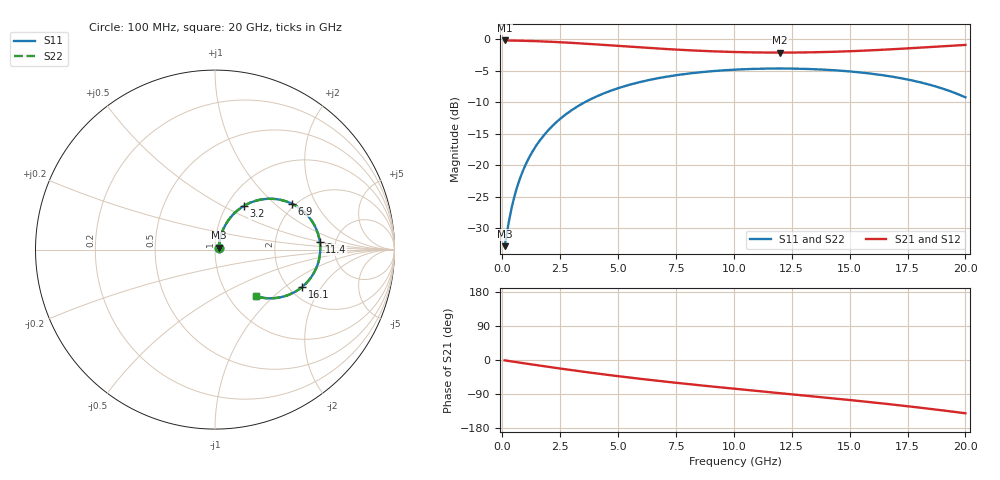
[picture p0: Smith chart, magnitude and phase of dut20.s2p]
! Touchstone file exported from HFSS 2026.1.0
!  File:  C:/ffzhzh/LocalFiles/Ansys_Project_Files/temp_train_TSV_RDL_20_1782962618_6388.aedt
!  Generated:  11:35:23 AM Jul  2, 2026
!  Design:  TSV_RDL
!  Project:  temp_train_TSV_RDL_20_1782962618_6388
! Variables:
!  h_bsmrdl = 4.22um
!  h_ox = 20um
!  h_rdl = 5um
!  h_sub = 54.8um
!  h_tmrdl = 2.59um
!  h_tsv = 54.8um
!  h_via = 3um
!  l_bsmrdl = 479.14um
!  l_sub = 2574.94um
!  l_tmrdl = 161.19um
!  m_sub = 200um
!  pitch = 40.67um
!  r_tsv = 2.61um
!  s_tmrdl = 10um
!  w_bsmrdl = 17.64um
!  w_sub = 500um
!  w_tmrdl = 13.28um
!  x_tsv_center1 = 167.83um
!  x_tsv_center2 = 664.61um
!  x_tsv_center3 = 839.08um
!  x_tsv_center4 = 1335.86um
!  x_tsv_center5 = 1510.33um
!  x_tsv_center6 = 2007.11um
# GHz S MA R 50.000000
! Terminal data exported
! Port[1] = TM_RDL1_1_T1
! Port[2] = TM_RDL5_1_T1
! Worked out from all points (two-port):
!   200 points, 100 MHz to 20 GHz, reference 50 ohm
!   highest |S21| = -0.18 dB at 100 MHz (marker M1); lowest = -2.1 dB at 12 GHz (marker M2)
!   |S21| within 3 dB of the highest: start of sweep to end of sweep
!   lowest |S11| = -32.8 dB at 100 MHz (marker M3), VSWR 1.05, Z = 52.1 + j1.04 ohm
!   |S11| at or under -10 dB: start of sweep to 3.559 GHz
!   |S22| runs from -32.8 to -4.6 dB; largest |S21 - S12| = 9.3e-13
!   S11 on the Smith chart (normalised r, x): 100 MHz: 1.04, +0.02; 3.2 GHz: 1.20, +0.63; 6.9 GHz: 1.91, +1.30; 11.4 GHz: 3.75, +0.50; 16.1 GHz: 2.35, -1.35; 20 GHz: 1.33, -0.79
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0.1  0.02279 26.1  0.9797 -1.0  0.9797 -1.0  0.02279 26.1
! Gamma 0 0 0 0
! Port Impedance 50 0 50 0
0.3  0.03701 52.6  0.9785 -2.8  0.9785 -2.8  0.03701 52.6
0.5  0.05446 62.0  0.9771 -4.7  0.9771 -4.7  0.05446 62.0
0.8  0.08192 66.9  0.9747 -7.4  0.9747 -7.4  0.08192 66.9
1.1  0.1097 68.0  0.9716 -10.1  0.9716 -10.1  0.1097 68.0
1.5  0.1464 67.2  0.9664 -13.7  0.9664 -13.7  0.1464 67.2
2  0.191 64.8  0.9583 -18.2  0.9583 -18.2  0.191 64.8
2.6  0.242 60.9  0.9464 -23.4  0.9464 -23.4  0.242 60.9
3.2  0.2896 56.7  0.9328 -28.4  0.9328 -28.4  0.2896 56.7
3.5  0.312 54.5  0.9255 -30.9  0.9255 -30.9  0.312 54.5
5  0.4091 43.8  0.8869 -42.7  0.8869 -42.7  0.4091 43.8
6.8  0.494 31.7  0.8434 -55.5  0.8434 -55.5  0.494 31.7
6.9  0.4978 31.0  0.8412 -56.1  0.8412 -56.1  0.4978 31.0
8.5  0.5465 21.1  0.8115 -66.5  0.8115 -66.5  0.5465 21.1
10.1  0.5752 11.7  0.7924 -76.3  0.7924 -76.3  0.5752 11.7
11.4  0.5855 4.3  0.7852 -84.0  0.7852 -84.0  0.5855 4.2
12  0.5865 0.9  0.7845 -87.5  0.7845 -87.5  0.5865 0.9
13.4  0.5799 -7.1  0.789 -95.8  0.789 -95.8  0.5799 -7.1
16.1  0.529 -23.0  0.8208 -112.5  0.8208 -112.5  0.529 -23.0
16.7  0.5101 -26.7  0.8315 -116.5  0.8315 -116.5  0.5101 -26.7
18.4  0.4389 -37.7  0.8668 -128.4  0.8668 -128.4  0.4389 -37.8
20  0.3464 -48.7  0.9026 -140.6  0.9026 -140.6  0.3464 -48.7
